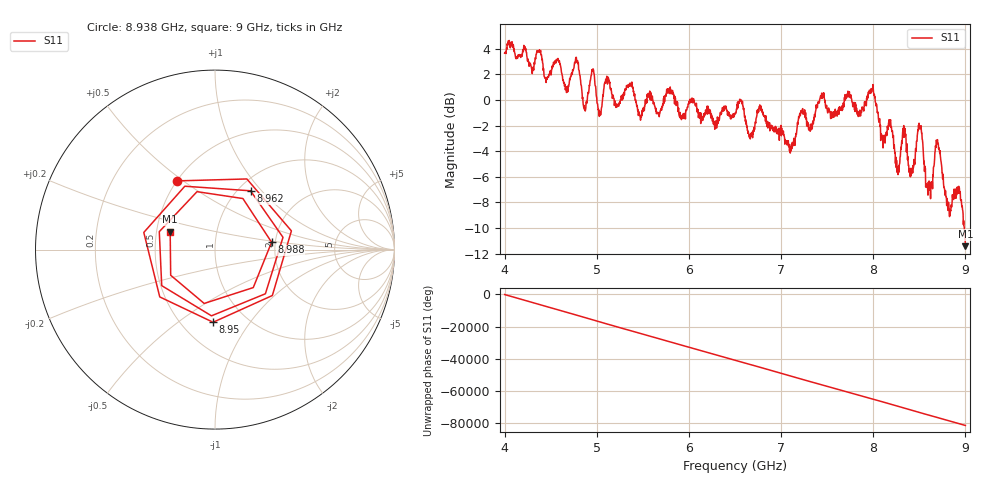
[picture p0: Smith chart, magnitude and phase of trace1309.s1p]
! Created with skrf 1.8.0 (http://scikit-rf.org).
# Hz S RI R 50.0
!freq ReS11 ImS11
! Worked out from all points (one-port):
!   1601 points, 4 GHz to 9 GHz, reference 50 ohm
!   lowest |S11| = -11.4 dB at 9 GHz (marker M1), VSWR 1.73, Z = 29.5 + j6.31 ohm
!   |S11| at or under -10 dB: 8.988285 GHz to end of sweep
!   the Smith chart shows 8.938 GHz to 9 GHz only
!   S11 on the Smith chart (normalised r, x): 8.938 GHz: 0.50, +0.47; 8.95 GHz: 0.71, -0.68; 8.962 GHz: 1.14, +0.87; 8.988 GHz: 1.91, +0.17; 9 GHz: 0.59, +0.13
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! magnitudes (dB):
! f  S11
! 4 GHz  3.7
! 4.625 GHz  1.9
! 4.784 GHz  3.0
! 4.869 GHz  -0.7
! 4.953 GHz  2.3
! 5.028 GHz  -1.3
! 5.109 GHz  1.9
! 5.25 GHz  -0.1
! 5.875 GHz  -0.2
! 6.5 GHz  -1.0
! 7.125 GHz  -3.5
! 7.225 GHz  -1.0
! 7.75 GHz  0.2
! 7.988 GHz  0.8
! 8.194 GHz  -2.1
! 8.262 GHz  -5.3
! 8.331 GHz  -2.0
! 8.375 GHz  -4.4
! 8.422 GHz  -5.6
! 8.503 GHz  -2.2
! 8.597 GHz  -6.4
! 8.7 GHz  -3.4
! 8.819 GHz  -8.1
! 8.938 GHz  -7.2
! 8.95 GHz  -7.9
! 8.962 GHz  -8.3
! 8.988 GHz  -10.0
! 9 GHz  -11.4
